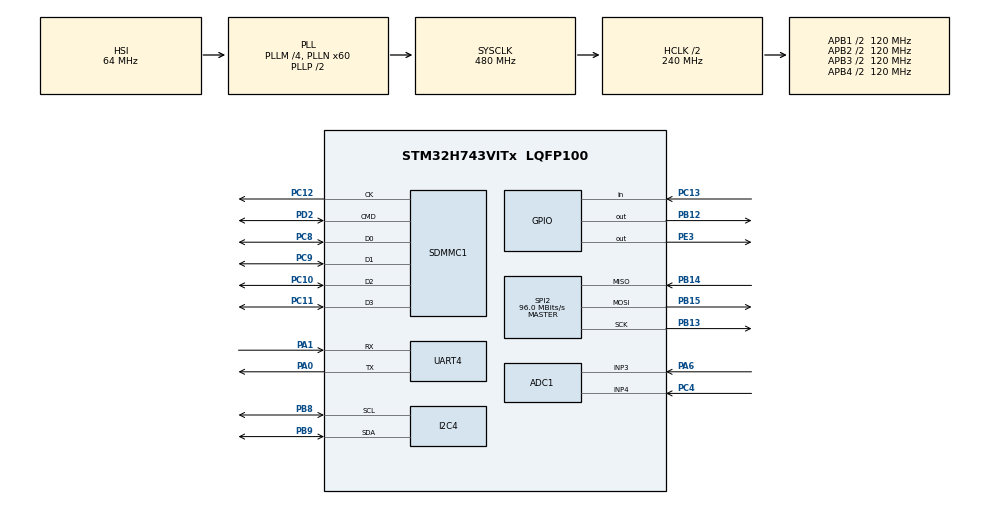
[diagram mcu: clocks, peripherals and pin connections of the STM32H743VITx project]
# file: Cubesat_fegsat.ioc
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ADC1.Channel-0\#ChannelRegularConversion=ADC_CHANNEL_3
ADC1.NbrOfConversionFlag=1
ADC1.OffsetNumber-0\#ChannelRegularConversion=ADC_OFFSET_NONE
ADC1.OffsetSignedSaturation-0\#ChannelRegularConversion=DISABLE
ADC1.Rank-0\#ChannelRegularConversion=1
ADC1.SamplingTime-0\#ChannelRegularConversion=ADC_SAMPLETIME_1CYCLE_5
ADC1.master=1
CORTEX_M7.default_mode_Activation=1
I2C4.Timing=0x307075B1
Mcu.Family=STM32H7
Mcu.Name=STM32H743VITx
Mcu.Package=LQFP100
NVIC.PriorityGroup=NVIC_PRIORITYGROUP_4
NVIC.SDMMC1_IRQn=true\:0\:0\:false\:false\:true\:true\:true\:true
PA0.Mode=Asynchronous
PA0.Signal=UART4_TX
PA1.Mode=Asynchronous
PA1.Signal=UART4_RX
PA13\ (JTMS/SWDIO).Mode=Serial_Wire
PA13\ (JTMS/SWDIO).Signal=DEBUG_JTMS-SWDIO
PA14\ (JTCK/SWCLK).Mode=Serial_Wire
PA14\ (JTCK/SWCLK).Signal=DEBUG_JTCK-SWCLK
PA6.Signal=ADCx_INP3
PB12.GPIO_Speed=GPIO_SPEED_FREQ_HIGH
PB12.PinState=GPIO_PIN_SET
PB12.Signal=GPIO_Output
PB13.Mode=Full_Duplex_Master
PB13.Signal=SPI2_SCK
PB14.GPIO_Speed=GPIO_SPEED_FREQ_HIGH
PB14.Mode=Full_Duplex_Master
PB14.Signal=SPI2_MISO
PB15.Mode=Full_Duplex_Master
PB15.Signal=SPI2_MOSI
PB8.Mode=I2C
PB8.Signal=I2C4_SCL
PB9.Mode=I2C
PB9.Signal=I2C4_SDA
PC10.Mode=SD_4_bits_Wide_bus
PC10.Signal=SDMMC1_D2
PC11.Mode=SD_4_bits_Wide_bus
PC11.Signal=SDMMC1_D3
PC12.Mode=SD_4_bits_Wide_bus
PC12.Signal=SDMMC1_CK
PC13.GPIO_PuPd=GPIO_PULLDOWN
PC13.Signal=GPIO_Input
PC4.Signal=ADCx_INP4
PC8.Mode=SD_4_bits_Wide_bus
PC8.Signal=SDMMC1_D0
PC9.Mode=SD_4_bits_Wide_bus
PC9.Signal=SDMMC1_D1
PD2.Mode=SD_4_bits_Wide_bus
PD2.Signal=SDMMC1_CMD
PE3.PinState=GPIO_PIN_RESET
PE3.Signal=GPIO_Output
ProjectManager.HeapSize=0x200
ProjectManager.StackSize=0x400
ProjectManager.TargetToolchain=CMake
RCC.ADCFreq_Value=80000000
RCC.APB1Freq_Value=120000000
RCC.APB2Freq_Value=120000000
RCC.APB3Freq_Value=120000000
RCC.APB4Freq_Value=120000000
RCC.CortexFreq_Value=480000000
RCC.D1PPRE=RCC_APB3_DIV2
RCC.D2PPRE1=RCC_APB1_DIV2
RCC.D2PPRE2=RCC_APB2_DIV2
RCC.D3PPRE=RCC_APB4_DIV2
RCC.DIVM1=4
RCC.DIVM2=4
RCC.DIVN1=60
RCC.DIVN2=10
RCC.DIVQ1=5
RCC.HCLKFreq_Value=240000000
RCC.HPRE=RCC_HCLK_DIV2
RCC.SYSCLKFreq_VALUE=480000000
RCC.SYSCLKSource=RCC_SYSCLKSOURCE_PLLCLK
RCC.USBFreq_Value=192000000
SDMMC1.ClockDiv=4
SH.ADCx_INP3.0=ADC1_INP3,IN3-Single-Ended
SH.ADCx_INP4.0=ADC1_INP4,IN4-Single-Ended
SPI2.CalculateBaudRate=96.0 MBits/s
SPI2.Direction=SPI_DIRECTION_2LINES
SPI2.Mode=SPI_MODE_MASTER
SPI2.VirtualType=VM_MASTER
VP_FATFS_VS_SDIO.Mode=SDIO
VP_MEMORYMAP_VS_MEMORYMAP.Mode=CurAppReg
board=custom

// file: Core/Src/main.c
/* USER CODE BEGIN Header */
/**
  ******************************************************************************
  * @file           : main.c
  * @brief          : Main program body - MS5611, BME68X & BMI323
  ******************************************************************************
  */
/* USER CODE END Header */
#include "main.h"
#include "fatfs.h"

/* USER CODE BEGIN Includes */
#include "BMI323_STM32.h"
#include "ms5611.h"
#include "bme68x_app.h"
#include "model.h"
#include <string.h>
#include <stdio.h>
#include "logger.h"
/* USER CODE END Includes */

/* USER CODE BEGIN PD */
#define IMU_PERIOD_US     10000u   /* 100 Hz: taxa de UpdateIMU                */
#define BARO_PERIOD_MS    50u      /* 20 Hz: taxa de UpdateBaro                */
#define TELEM_PERIOD_MS   200u     /* 5 Hz: telemetria pela UART               */
#define BME_PERIOD_MS     1000u    /* 1 Hz: BME68X (so fora de voo)            */
#define CAL_SAMPLES       300u     /* amostras de calibracao (~3 s parado)     */
#define CAL_MAX_TRIES     5u
#define LIVE_ROTACAO      1        /*<------------------------------------------------------------ Mudar para 0 no lancamento-------------------------------*/
#define LIVE_PERIOD_MS    40u     /* 25 Hz */

/* Descomente para testar na bancada: baixa o limiar de decolagem para 1.3 g,
   assim uma "sacudida" da placa dispara a fase BOOST. */
#define PB_BENCH_TEST
/* USER CODE END PD */

ADC_HandleTypeDef hadc1;

I2C_HandleTypeDef hi2c4;

SD_HandleTypeDef hsd1;

SPI_HandleTypeDef hspi2;

UART_HandleTypeDef huart4;

/* USER CODE BEGIN PV */
float temperature_ms5611, pressure_ms5611;   /* pressure_ms5611 em Pa */
BMI323_Data imu_data;
BME68X_Data bme68x_data;
uint32_t led_last_toggle = 0;

Peabiru_t peabiru;
static Peabiru_Phase last_phase = PB_PHASE_PAD;
static const char *phase_name[] = { "PAD", "BOOST", "COAST", "DESCENT", "LANDED" };

static uint32_t imu_period_cyc;   /* periodo do IMU em ciclos do DWT */
static uint32_t last_imu_cyc;
static uint32_t last_baro_ms;
static uint32_t last_telem_ms;
static uint32_t last_bme_ms;
static uint32_t last_live_ms;
/* USER CODE END PV */

void SystemClock_Config(void);
static void MPU_Config(void);
static void MX_GPIO_Init(void);
static void MX_ADC1_Init(void);
static void MX_I2C4_Init(void);
static void MX_SPI2_Init(void);
static void MX_UART4_Init(void);
static void MX_SDMMC1_SD_Init(void);
/* USER CODE BEGIN PFP */
void I2C_Scanner(I2C_HandleTypeDef *hi2c);
static void    DWT_Init(void);
static uint8_t Peabiru_SetupAndCalibrate(void);
/* USER CODE END PFP */

/* USER CODE BEGIN 0 */
void I2C_Scanner(I2C_HandleTypeDef *hi2c)
{
    char buffer[64];
    uint8_t found = 0;

    sprintf(buffer, "\r\n--- Escaneando barramento I2C ---\r\n");
    HAL_UART_Transmit(&huart4, (uint8_t *)buffer, strlen(buffer), 100);

    for (uint8_t addr = 1; addr < 128; addr++)
    {
        if (HAL_I2C_IsDeviceReady(hi2c, (addr << 1), 2, 10) == HAL_OK)
        {
            sprintf(buffer, "Dispositivo encontrado no endereco 0x%02X\r\n", addr);
            HAL_UART_Transmit(&huart4, (uint8_t *)buffer, strlen(buffer), 100);
            found++;
        }
    }

    if (found == 0)
    {
        sprintf(buffer, "Nenhum dispositivo respondeu no barramento.\r\n");
        HAL_UART_Transmit(&huart4, (uint8_t *)buffer, strlen(buffer), 100);
    }

    sprintf(buffer, "--- Fim do scan (%d encontrado(s)) ---\r\n\r\n", found);
    HAL_UART_Transmit(&huart4, (uint8_t *)buffer, strlen(buffer), 100);
}
/* Contador de ciclos da CPU: da um dt com resolucao de nanossegundos,
   bem melhor que o HAL_GetTick() de 1 ms para integrar aceleracao. */
static void DWT_Init(void)
{
    CoreDebug->DEMCR |= CoreDebug_DEMCR_TRCENA_Msk;
    DWT->LAR = 0xC5ACCE55;               /* destrava o DWT no Cortex-M7 */
    DWT->CYCCNT = 0;
    DWT->CTRL |= DWT_CTRL_CYCCNTENA_Msk;
}

/* Inicializa o modelo e calibra com o Peabiru PARADO. Retorna 1 se deu certo. */
static uint8_t Peabiru_SetupAndCalibrate(void)
{
    Peabiru_Init(&peabiru);              /* zera tudo, inclusive acumuladores */

    /* Opcional: gravidade local (padrao 9.786 = Iacanga-SP) */
    /* Peabiru_SetLocalGravity(&peabiru, 9.78f); */

#ifdef PB_BENCH_TEST
    peabiru.boost_thresh_g = 1.4f;
#endif

    uint32_t n = 0;
    while (n < CAL_SAMPLES)
    {
        /* O barometro e lento: le a cada 10 amostras e reaproveita o valor */
        if ((n % 10u) == 0u)
        {
            MS5611_Measure(&hi2c4, &temperature_ms5611, &pressure_ms5611);
            if (pressure_ms5611 < 30000.0f) return 0;   /* leitura invalida */
        }

        if (BMI323_ReadData(&imu_data) == 0)
        {
            Peabiru_CalibAddSample(&peabiru,
                                   imu_data.accel_x_g, imu_data.accel_y_g, imu_data.accel_z_g,
                                   imu_data.gyro_x_dps, imu_data.gyro_y_dps, imu_data.gyro_z_dps,
                                   pressure_ms5611);
            n++;
        }
        HAL_Delay(10);
    }

    return Peabiru_CalibFinish(&peabiru);
}
/* USER CODE END 0 */

int main(void)
{

  /* MPU Configuration--------------------------------------------------------*/
  MPU_Config();

  /* MCU Configuration--------------------------------------------------------*/

  /* Reset of all peripherals, Initializes the Flash interface and the Systick. */
  HAL_Init();

  /* Configure the system clock */
  SystemClock_Config();

  /* Initialize all configured peripherals */
  MX_GPIO_Init();
  MX_ADC1_Init();
  MX_I2C4_Init();
  MX_SPI2_Init();
  MX_UART4_Init();
  MX_SDMMC1_SD_Init();
  MX_FATFS_Init();
  /* USER CODE BEGIN 2 */
  char buffer[256];

  /* Scan de dispositivos I2C no barramento 4 */
  I2C_Scanner(&hi2c4);

  /* ------------------------------- MS5611 ------------------------------- */
  MS5611_Init(&hi2c4, 1); /* teste: 1 = formula MS5607. Se a pressao ficar certa, mantenha assim; se piorar, volte para 0 */

  /* ------------------------------- BME68X ------------------------------- */
  if (BME68X_App_Init(&hi2c4) != BME68X_OK)
  {
      sprintf(buffer, "Erro ao inicializar BME68X!\r\n");
      HAL_UART_Transmit(&huart4, (uint8_t *)buffer, strlen(buffer), 100);
  }

  /* -------------------------------- BMI323 -------------------------------- */
  uint8_t bmi_status = BMI323_Init();

  sprintf(buffer, "BMI323_Init() retornou: %d\r\n", bmi_status);
  HAL_UART_Transmit(&huart4, (uint8_t *)buffer, strlen(buffer), 100);

  sprintf(buffer, "BMI323 CHIP_ID lido: 0x%02X (esperado: 0x43)\r\n", g_bmi323_debug_chip_id);
  HAL_UART_Transmit(&huart4, (uint8_t *)buffer, strlen(buffer), 100);

   /* ------------------------------ MODELO -------------------------------- */
  DWT_Init();
  HAL_Delay(1000);   /* deixa o sensor assentar antes de calibrar */

  sprintf(buffer, "Calibrando o modelo: mantenha o Peabiru PARADO...\r\n");
  HAL_UART_Transmit(&huart4, (uint8_t *)buffer, strlen(buffer), 100);

  uint8_t cal_ok = 0;
  for (uint32_t tentativa = 1; tentativa <= CAL_MAX_TRIES && !cal_ok; tentativa++)
  {
      cal_ok = Peabiru_SetupAndCalibrate();
      if (!cal_ok)
      {
          sprintf(buffer, "Calibracao falhou (tentativa %lu/%u)\r\n",
                  (unsigned long)tentativa, (unsigned)CAL_MAX_TRIES);
          HAL_UART_Transmit(&huart4, (uint8_t *)buffer, strlen(buffer), 100);
          HAL_Delay(500);
      }
  }

  if (cal_ok)
  {
      sprintf(buffer, "Modelo calibrado. p0=%.2f hPa | escala acel=%.4f | giro bias(rad/s)=%.4f %.4f %.4f\r\n",
              peabiru.p0_pa / 100.0f, peabiru.accel_scale,
              peabiru.gbx, peabiru.gby, peabiru.gbz);
  }
  else
  {
      sprintf(buffer, "ERRO: modelo NAO calibrado (UpdateIMU/UpdateBaro serao ignorados)\r\n");
  }
  HAL_UART_Transmit(&huart4, (uint8_t *)buffer, strlen(buffer), 100);

  /* Temporizacao do loop principal */
  imu_period_cyc = (SystemCoreClock / 1000000u) * IMU_PERIOD_US;
  last_imu_cyc   = DWT->CYCCNT;
  last_baro_ms   = HAL_GetTick();
  last_telem_ms  = last_baro_ms;
  last_bme_ms    = last_baro_ms;

  /* ------------------------------ Logger -------------------------------- */
  if (Logger_Init())
  {
    snprintf(buffer, sizeof(buffer), "SD ok: gravando em %s\r\n", Logger_FileName());
    Logger_Print("t_ms,fase,ax_g,ay_g,az_g,gx_dps,gy_dps,gz_dps,press_pa,alt_m,vel_ms,acc_g,tilt_deg,x_m,y_m,vx_ms,vy_ms,roll_deg,pitch_deg,yaw_deg,acc_up_ms2,flight_time_s\n");
  }
  else
  {
    snprintf(buffer, sizeof(buffer), "ERRO: cartao SD nao montou\r\n");
  }
HAL_UART_Transmit(&huart4, (uint8_t *)buffer, strlen(buffer), 100);

  /* USER CODE END 2 */

  /* Infinite loop */
  while (1)
  {

    /* USER CODE BEGIN 3 */
      /*----------------------------- LED ----------------------------------*/
    if (HAL_GetTick() - led_last_toggle >= 1000)
    {
      HAL_GPIO_TogglePin(GPIOE, GPIO_PIN_3);
      led_last_toggle = HAL_GetTick();
    }

    /*------------------- IMU a taxa fixa (100 Hz) -----------------------*/
    uint32_t now_cyc = DWT->CYCCNT;
    if ((uint32_t)(now_cyc - last_imu_cyc) >= imu_period_cyc)
    {
        /* dt REAL medido pelo DWT (a diferenca em uint32 ja trata o overflow) */
        float dt = (float)(uint32_t)(now_cyc - last_imu_cyc) / (float)SystemCoreClock;
        last_imu_cyc = now_cyc;

          if (BMI323_ReadData(&imu_data) == 0)
        {
            Peabiru_UpdateIMU(&peabiru,
                              imu_data.accel_x_g, imu_data.accel_y_g, imu_data.accel_z_g,
                              imu_data.gyro_x_dps, imu_data.gyro_y_dps, imu_data.gyro_z_dps,
                              dt);

            /* <<< ADICIONAR: uma linha de log por amostra do IMU >>> */
            Logger_Print("%lu,%d,%.4f,%.4f,%.4f,%.3f,%.3f,%.3f,"
             "%.1f,%.3f,%.3f,%.3f,%.2f,"
             "%.3f,%.3f,%.3f,%.3f,"
             "%.2f,%.2f,%.2f,%.3f,%.3f\n",
             (unsigned long)HAL_GetTick(),
             (int)peabiru.phase,
             imu_data.accel_x_g,
             imu_data.accel_y_g,
             imu_data.accel_z_g,
             imu_data.gyro_x_dps,
             imu_data.gyro_y_dps,
             imu_data.gyro_z_dps,
             pressure_ms5611,
             peabiru.alt_m,
             peabiru.vel_up_ms,
             peabiru.acc_mag_g,
             peabiru.tilt_deg,
             peabiru.x_m,
             peabiru.y_m,
             peabiru.vx_ms,
             peabiru.vy_ms,
             peabiru.roll_deg,
             peabiru.pitch_deg,
             peabiru.yaw_deg,
             peabiru.acc_up_ms2,
             peabiru.flight_time_s);
        }
    }
    /*------------------- Mudança Maquina de Estados -----------------------*/
    if (peabiru.phase != last_phase)
    {
    snprintf(buffer, sizeof(buffer),
             ">>> FASE: %s -> %s | t=%.2fs |a|=%.2fg vel=%.2fm/s alt=%.2fm\r\n",
             phase_name[last_phase], phase_name[peabiru.phase],
             peabiru.flight_time_s, peabiru.acc_mag_g,
             peabiru.vel_up_ms, peabiru.alt_m);
    HAL_UART_Transmit(&huart4, (uint8_t *)buffer, strlen(buffer), 100);
    last_phase = peabiru.phase;
    }

    /*------------------- Barometro (20 Hz) ------------------------------*/
    if (HAL_GetTick() - last_baro_ms >= BARO_PERIOD_MS)
    {
        last_baro_ms = HAL_GetTick();
        MS5611_Measure(&hi2c4, &temperature_ms5611, &pressure_ms5611);   /* Pa */
        Peabiru_UpdateBaro(&peabiru, pressure_ms5611);
    }

    /*------------------- BME68X (so fora de voo) ------------------------*/
    if ((peabiru.phase == PB_PHASE_PAD || peabiru.phase == PB_PHASE_LANDED) &&
        (HAL_GetTick() - last_bme_ms >= BME_PERIOD_MS))
    {
        last_bme_ms = HAL_GetTick();
        if (BME68X_App_ReadData(&bme68x_data))
        {
            sprintf(buffer, "BME68X  -> Temp: %.2fC | Press: %.2fhPa | Hum: %.2f%% | Gas: %.0f Ohm\r\n",
                    bme68x_data.temperature, bme68x_data.pressure,
                    bme68x_data.humidity, bme68x_data.gas_resistance);
            HAL_UART_Transmit(&huart4, (uint8_t *)buffer, strlen(buffer), 100);
        }
    }

    /*------------------- Telemetria (5 Hz) ------------------------------*/
    if (HAL_GetTick() - last_telem_ms >= TELEM_PERIOD_MS)
    {
        last_telem_ms = HAL_GetTick();
        snprintf(buffer, sizeof(buffer),
                 "[%s] alt=%.2fm vel=%.2fm/s |a|=%.2fg tilt=%.1fdeg x=%.1f y=%.1f max=%.1fm\r\n",
                 phase_name[peabiru.phase],
                 peabiru.alt_m, peabiru.vel_up_ms, peabiru.acc_mag_g,
                 peabiru.tilt_deg, peabiru.x_m, peabiru.y_m, peabiru.max_alt_m);
        HAL_UART_Transmit(&huart4, (uint8_t *)buffer, strlen(buffer), 100);
    }

    #if LIVE_ROTACAO
    if (HAL_GetTick() - last_live_ms >= LIVE_PERIOD_MS)
    {
        last_live_ms = HAL_GetTick();
        snprintf(buffer, sizeof(buffer), "R,%lu,%.2f,%.2f,%.2f,%d,%.2f,%.2f\r\n",
                 (unsigned long)last_live_ms,
                 peabiru.roll_deg, peabiru.pitch_deg, peabiru.yaw_deg,
                 (int)peabiru.phase,
                 peabiru.alt_m, peabiru.vel_up_ms);
        HAL_UART_Transmit(&huart4, (uint8_t *)buffer, strlen(buffer), 100);
    }
#endif
    Logger_Poll();

  }
  /* USER CODE END 3 */
}

void SystemClock_Config(void)
{
  RCC_OscInitTypeDef RCC_OscInitStruct = {0};
  RCC_ClkInitTypeDef RCC_ClkInitStruct = {0};

  /** Supply configuration update enable
  */
  HAL_PWREx_ConfigSupply(PWR_LDO_SUPPLY);

  /** Configure the main internal regulator output voltage
  */
  __HAL_PWR_VOLTAGESCALING_CONFIG(PWR_REGULATOR_VOLTAGE_SCALE0);

  while(!__HAL_PWR_GET_FLAG(PWR_FLAG_VOSRDY)) {}

  /** Initializes the RCC Oscillators according to the specified parameters
  * in the RCC_OscInitTypeDef structure.
  */
  RCC_OscInitStruct.OscillatorType = RCC_OSCILLATORTYPE_HSI;
  RCC_OscInitStruct.HSIState = RCC_HSI_DIV1;
  RCC_OscInitStruct.HSICalibrationValue = RCC_HSICALIBRATION_DEFAULT;
  RCC_OscInitStruct.PLL.PLLState = RCC_PLL_ON;
  RCC_OscInitStruct.PLL.PLLSource = RCC_PLLSOURCE_HSI;
  RCC_OscInitStruct.PLL.PLLM = 4;
  RCC_OscInitStruct.PLL.PLLN = 60;
  RCC_OscInitStruct.PLL.PLLP = 2;
  RCC_OscInitStruct.PLL.PLLQ = 5;
  RCC_OscInitStruct.PLL.PLLR = 2;
  RCC_OscInitStruct.PLL.PLLRGE = RCC_PLL1VCIRANGE_3;
  RCC_OscInitStruct.PLL.PLLVCOSEL = RCC_PLL1VCOWIDE;
  RCC_OscInitStruct.PLL.PLLFRACN = 0;
  if (HAL_RCC_OscConfig(&RCC_OscInitStruct) != HAL_OK)
  {
    Error_Handler();
  }

  /** Initializes the CPU, AHB and APB buses clocks
  */
  RCC_ClkInitStruct.ClockType = RCC_CLOCKTYPE_HCLK|RCC_CLOCKTYPE_SYSCLK
                              |RCC_CLOCKTYPE_PCLK1|RCC_CLOCKTYPE_PCLK2
                              |RCC_CLOCKTYPE_D3PCLK1|RCC_CLOCKTYPE_D1PCLK1;
  RCC_ClkInitStruct.SYSCLKSource = RCC_SYSCLKSOURCE_PLLCLK;
  RCC_ClkInitStruct.SYSCLKDivider = RCC_SYSCLK_DIV1;
  RCC_ClkInitStruct.AHBCLKDivider = RCC_HCLK_DIV2;
  RCC_ClkInitStruct.APB3CLKDivider = RCC_APB3_DIV2;
  RCC_ClkInitStruct.APB1CLKDivider = RCC_APB1_DIV2;
  RCC_ClkInitStruct.APB2CLKDivider = RCC_APB2_DIV2;
  RCC_ClkInitStruct.APB4CLKDivider = RCC_APB4_DIV2;

  if (HAL_RCC_ClockConfig(&RCC_ClkInitStruct, FLASH_LATENCY_4) != HAL_OK)
  {
    Error_Handler();
  }
}

static void MX_ADC1_Init(void)
{

  ADC_MultiModeTypeDef multimode = {0};
  ADC_ChannelConfTypeDef sConfig = {0};

  /** Common config
  */
  hadc1.Instance = ADC1;
  hadc1.Init.ClockPrescaler = ADC_CLOCK_ASYNC_DIV1;
  hadc1.Init.Resolution = ADC_RESOLUTION_16B;
  hadc1.Init.ScanConvMode = ADC_SCAN_DISABLE;
  hadc1.Init.EOCSelection = ADC_EOC_SINGLE_CONV;
  hadc1.Init.LowPowerAutoWait = DISABLE;
  hadc1.Init.ContinuousConvMode = DISABLE;
  hadc1.Init.NbrOfConversion = 1;
  hadc1.Init.DiscontinuousConvMode = DISABLE;
  hadc1.Init.ExternalTrigConv = ADC_SOFTWARE_START;
  hadc1.Init.ExternalTrigConvEdge = ADC_EXTERNALTRIGCONVEDGE_NONE;
  hadc1.Init.ConversionDataManagement = ADC_CONVERSIONDATA_DR;
  hadc1.Init.Overrun = ADC_OVR_DATA_PRESERVED;
  hadc1.Init.LeftBitShift = ADC_LEFTBITSHIFT_NONE;
  hadc1.Init.OversamplingMode = DISABLE;
  hadc1.Init.Oversampling.Ratio = 1;
  if (HAL_ADC_Init(&hadc1) != HAL_OK)
  {
    Error_Handler();
  }

  /** Configure the ADC multi-mode
  */
  multimode.Mode = ADC_MODE_INDEPENDENT;
  if (HAL_ADCEx_MultiModeConfigChannel(&hadc1, &multimode) != HAL_OK)
  {
    Error_Handler();
  }

  /** Configure Regular Channel
  */
  sConfig.Channel = ADC_CHANNEL_3;
  sConfig.Rank = ADC_REGULAR_RANK_1;
  sConfig.SamplingTime = ADC_SAMPLETIME_1CYCLE_5;
  sConfig.SingleDiff = ADC_SINGLE_ENDED;
  sConfig.OffsetNumber = ADC_OFFSET_NONE;
  sConfig.Offset = 0;
  sConfig.OffsetSignedSaturation = DISABLE;
  if (HAL_ADC_ConfigChannel(&hadc1, &sConfig) != HAL_OK)
  {
    Error_Handler();
  }

}

static void MX_I2C4_Init(void)
{

  hi2c4.Instance = I2C4;
  hi2c4.Init.Timing = 0x307075B1;
  hi2c4.Init.OwnAddress1 = 0;
  hi2c4.Init.AddressingMode = I2C_ADDRESSINGMODE_7BIT;
  hi2c4.Init.DualAddressMode = I2C_DUALADDRESS_DISABLE;
  hi2c4.Init.OwnAddress2 = 0;
  hi2c4.Init.OwnAddress2Masks = I2C_OA2_NOMASK;
  hi2c4.Init.GeneralCallMode = I2C_GENERALCALL_DISABLE;
  hi2c4.Init.NoStretchMode = I2C_NOSTRETCH_DISABLE;
  if (HAL_I2C_Init(&hi2c4) != HAL_OK)
  {
    Error_Handler();
  }

  /** Configure Analogue filter
  */
  if (HAL_I2CEx_ConfigAnalogFilter(&hi2c4, I2C_ANALOGFILTER_ENABLE) != HAL_OK)
  {
    Error_Handler();
  }

  /** Configure Digital filter
  */
  if (HAL_I2CEx_ConfigDigitalFilter(&hi2c4, 0) != HAL_OK)
  {
    Error_Handler();
  }

}

static void MX_SDMMC1_SD_Init(void)
{

  hsd1.Instance = SDMMC1;
  hsd1.Init.ClockEdge = SDMMC_CLOCK_EDGE_RISING;
  hsd1.Init.ClockPowerSave = SDMMC_CLOCK_POWER_SAVE_DISABLE;
  hsd1.Init.BusWide = SDMMC_BUS_WIDE_4B;
  hsd1.Init.HardwareFlowControl = SDMMC_HARDWARE_FLOW_CONTROL_ENABLE;
  hsd1.Init.ClockDiv = 8;
  if (HAL_SD_Init(&hsd1) != HAL_OK)
  {
    Error_Handler();
  }

}

static void MX_SPI2_Init(void)
{

  /* SPI2 parameter configuration*/
  hspi2.Instance = SPI2;
  hspi2.Init.Mode = SPI_MODE_MASTER;
  hspi2.Init.Direction = SPI_DIRECTION_2LINES;
  hspi2.Init.DataSize = SPI_DATASIZE_4BIT;
  hspi2.Init.CLKPolarity = SPI_POLARITY_LOW;
  hspi2.Init.CLKPhase = SPI_PHASE_1EDGE;
  hspi2.Init.NSS = SPI_NSS_SOFT;
  hspi2.Init.BaudRatePrescaler = SPI_BAUDRATEPRESCALER_2;
  hspi2.Init.FirstBit = SPI_FIRSTBIT_MSB;
  hspi2.Init.TIMode = SPI_TIMODE_DISABLE;
  hspi2.Init.CRCCalculation = SPI_CRCCALCULATION_DISABLE;
  hspi2.Init.CRCPolynomial = 0x0;
  hspi2.Init.NSSPMode = SPI_NSS_PULSE_ENABLE;
  hspi2.Init.NSSPolarity = SPI_NSS_POLARITY_LOW;
  hspi2.Init.FifoThreshold = SPI_FIFO_THRESHOLD_01DATA;
  hspi2.Init.TxCRCInitializationPattern = SPI_CRC_INITIALIZATION_ALL_ZERO_PATTERN;
  hspi2.Init.RxCRCInitializationPattern = SPI_CRC_INITIALIZATION_ALL_ZERO_PATTERN;
  hspi2.Init.MasterSSIdleness = SPI_MASTER_SS_IDLENESS_00CYCLE;
  hspi2.Init.MasterInterDataIdleness = SPI_MASTER_INTERDATA_IDLENESS_00CYCLE;
  hspi2.Init.MasterReceiverAutoSusp = SPI_MASTER_RX_AUTOSUSP_DISABLE;
  hspi2.Init.MasterKeepIOState = SPI_MASTER_KEEP_IO_STATE_DISABLE;
  hspi2.Init.IOSwap = SPI_IO_SWAP_DISABLE;
  if (HAL_SPI_Init(&hspi2) != HAL_OK)
  {
    Error_Handler();
  }

}

static void MX_UART4_Init(void)
{

  huart4.Instance = UART4;
  huart4.Init.BaudRate = 115200;
  huart4.Init.WordLength = UART_WORDLENGTH_8B;
  huart4.Init.StopBits = UART_STOPBITS_1;
  huart4.Init.Parity = UART_PARITY_NONE;
  huart4.Init.Mode = UART_MODE_TX_RX;
  huart4.Init.HwFlowCtl = UART_HWCONTROL_NONE;
  huart4.Init.OverSampling = UART_OVERSAMPLING_16;
  huart4.Init.OneBitSampling = UART_ONE_BIT_SAMPLE_DISABLE;
  huart4.Init.ClockPrescaler = UART_PRESCALER_DIV1;
  huart4.AdvancedInit.AdvFeatureInit = UART_ADVFEATURE_NO_INIT;
  if (HAL_UART_Init(&huart4) != HAL_OK)
  {
    Error_Handler();
  }
  if (HAL_UARTEx_SetTxFifoThreshold(&huart4, UART_TXFIFO_THRESHOLD_1_8) != HAL_OK)
  {
    Error_Handler();
  }
  if (HAL_UARTEx_SetRxFifoThreshold(&huart4, UART_RXFIFO_THRESHOLD_1_8) != HAL_OK)
  {
    Error_Handler();
  }
  if (HAL_UARTEx_DisableFifoMode(&huart4) != HAL_OK)
  {
    Error_Handler();
  }

}

static void MX_GPIO_Init(void)
{
  GPIO_InitTypeDef GPIO_InitStruct = {0};

  /* GPIO Ports Clock Enable */
  __HAL_RCC_GPIOE_CLK_ENABLE();
  __HAL_RCC_GPIOC_CLK_ENABLE();
  __HAL_RCC_GPIOA_CLK_ENABLE();
  __HAL_RCC_GPIOB_CLK_ENABLE();
  __HAL_RCC_GPIOD_CLK_ENABLE();

  /*Configure GPIO pin Output Level */
  HAL_GPIO_WritePin(GPIOE, GPIO_PIN_3, GPIO_PIN_RESET);

  /*Configure GPIO pin Output Level */
  HAL_GPIO_WritePin(GPIOB, GPIO_PIN_12, GPIO_PIN_SET);

  /*Configure GPIO pin : PE3 */
  GPIO_InitStruct.Pin = GPIO_PIN_3;
  GPIO_InitStruct.Mode = GPIO_MODE_OUTPUT_PP;
  GPIO_InitStruct.Pull = GPIO_NOPULL;
  GPIO_InitStruct.Speed = GPIO_SPEED_FREQ_LOW;
  HAL_GPIO_Init(GPIOE, &GPIO_InitStruct);

  /*Configure GPIO pin : PC13 */
  GPIO_InitStruct.Pin = GPIO_PIN_13;
  GPIO_InitStruct.Mode = GPIO_MODE_INPUT;
  GPIO_InitStruct.Pull = GPIO_PULLDOWN;
  HAL_GPIO_Init(GPIOC, &GPIO_InitStruct);

  /*Configure GPIO pin : PB12 */
  GPIO_InitStruct.Pin = GPIO_PIN_12;
  GPIO_InitStruct.Mode = GPIO_MODE_OUTPUT_PP;
  GPIO_InitStruct.Pull = GPIO_NOPULL;
  GPIO_InitStruct.Speed = GPIO_SPEED_FREQ_HIGH;
  HAL_GPIO_Init(GPIOB, &GPIO_InitStruct);

}

 /* MPU Configuration */

void MPU_Config(void)
{
  MPU_Region_InitTypeDef MPU_InitStruct = {0};

  /* Disables the MPU */
  HAL_MPU_Disable();

  /** Initializes and configures the Region and the memory to be protected
  */
  MPU_InitStruct.Enable = MPU_REGION_ENABLE;
  MPU_InitStruct.Number = MPU_REGION_NUMBER0;
  MPU_InitStruct.BaseAddress = 0x0;
  MPU_InitStruct.Size = MPU_REGION_SIZE_4GB;
  MPU_InitStruct.SubRegionDisable = 0x87;
  MPU_InitStruct.TypeExtField = MPU_TEX_LEVEL0;
  MPU_InitStruct.AccessPermission = MPU_REGION_NO_ACCESS;
  MPU_InitStruct.DisableExec = MPU_INSTRUCTION_ACCESS_DISABLE;
  MPU_InitStruct.IsShareable = MPU_ACCESS_SHAREABLE;
  MPU_InitStruct.IsCacheable = MPU_ACCESS_NOT_CACHEABLE;
  MPU_InitStruct.IsBufferable = MPU_ACCESS_NOT_BUFFERABLE;

  HAL_MPU_ConfigRegion(&MPU_InitStruct);
  /* Enables the MPU */
  HAL_MPU_Enable(MPU_PRIVILEGED_DEFAULT);

}

void Error_Handler(void)
{
  __disable_irq();
  while (1)
  {
  }
}
